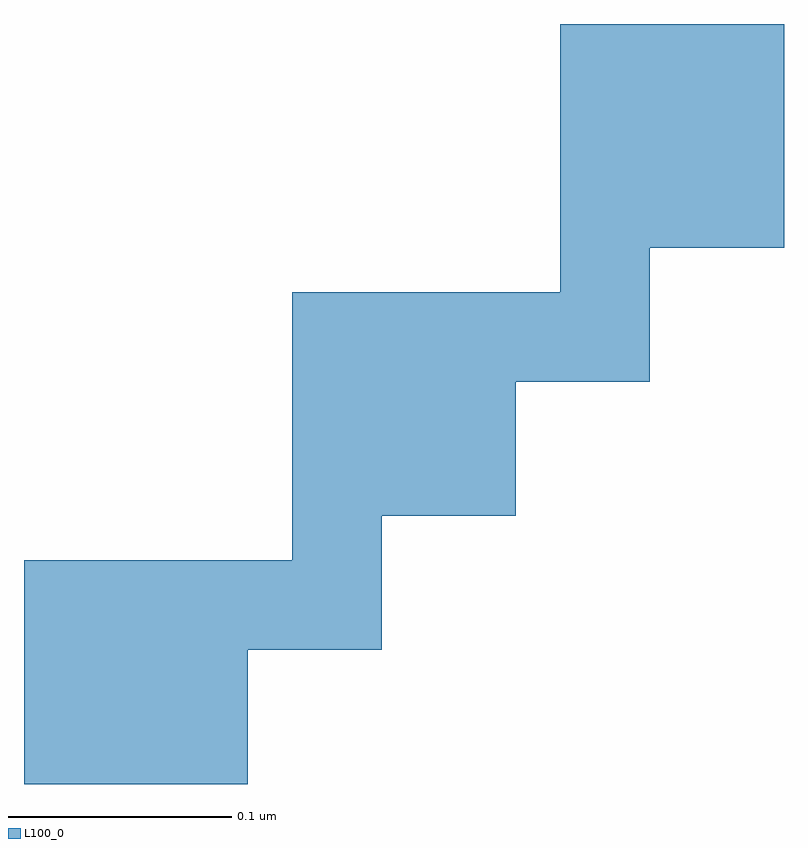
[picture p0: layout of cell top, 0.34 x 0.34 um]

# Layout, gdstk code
import gdstk
lib = gdstk.Library(unit=1e-6, precision=1e-09)
def R(c, l, rs):  # rectangles x0, y0, x1, y1
    for r in rs: c.add(gdstk.rectangle(r[:2], r[2:], *l))
L100_0 = (100, 0)

top = lib.new_cell('top')
R(top, L100_0, [(0,0,0.1,0.06), (0,0.06,0.16,0.1), (0.12,0.1,0.16,0.12), (0.12,0.12,0.22,0.18), (0.12,0.18,0.28,0.22), (0.24,0.22,0.28,0.24), (0.24,0.24,0.34,0.34)])

lib.write_gds('top.gds')
